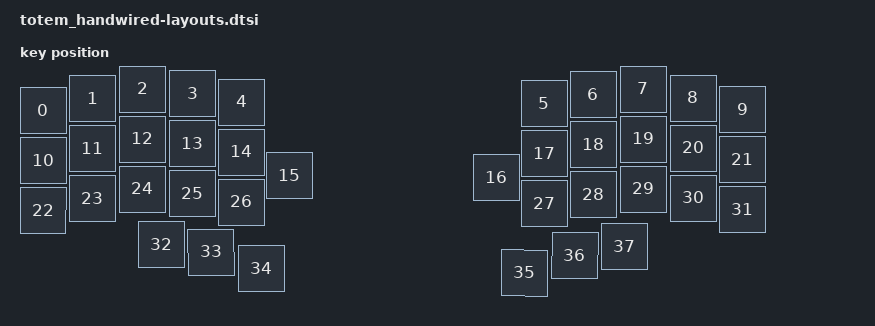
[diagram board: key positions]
#include <physical_layouts.dtsi>

/ {
    default_layout: default_layout {
        compatible = "zmk,physical-layout";
        display-name = "Default Layout";
        transform = <&default_transform>;
        kscan = <&kscan>;

        keys
            = <&key_physical_attrs 100 100 0 43 8 0 0>
            , <&key_physical_attrs 100 100 99 19 4 0 0>
            , <&key_physical_attrs 100 100 199 0 0 0 0>
            , <&key_physical_attrs 100 100 299 10 (-4) 0 0>
            , <&key_physical_attrs 100 100 397 27 (-8) 0 0>

            , <&key_physical_attrs 100 100 1002 27 8 0 0>
            , <&key_physical_attrs 100 100 1100 10 4 0 0>
            , <&key_physical_attrs 100 100 1200 0 0 0 0>
            , <&key_physical_attrs 100 100 1300 19 (-4) 0 0>
            , <&key_physical_attrs 100 100 1399 43 (-8) 0 0>

            , <&key_physical_attrs 100 100 0 143 8 0 0>
            , <&key_physical_attrs 100 100 99 119 4 0 0>
            , <&key_physical_attrs 100 100 199 100 0 0 0>
            , <&key_physical_attrs 100 100 299 110 (-4) 0 0>
            , <&key_physical_attrs 100 100 397 127 (-8) 0 0>
            , <&key_physical_attrs 100 100 492 175 (-12) 0 0>

            , <&key_physical_attrs 100 100 907 175 12 0 0>
            , <&key_physical_attrs 100 100 1002 127 8 0 0>
            , <&key_physical_attrs 100 100 1100 110 4 0 0>
            , <&key_physical_attrs 100 100 1200 100 0 0 0>
            , <&key_physical_attrs 100 100 1300 119 (-4) 0 0>
            , <&key_physical_attrs 100 100 1399 143 (-8) 0 0>

            , <&key_physical_attrs 100 100 0 243 8 0 0>
            , <&key_physical_attrs 100 100 99 219 4 0 0>
            , <&key_physical_attrs 100 100 199 200 0 0 0>
            , <&key_physical_attrs 100 100 299 210 (-4) 0 0>
            , <&key_physical_attrs 100 100 397 227 (-8) 0 0>

            , <&key_physical_attrs 100 100 1002 227 8 0 0>
            , <&key_physical_attrs 100 100 1100 210 4 0 0>
            , <&key_physical_attrs 100 100 1200 200 0 0 0>
            , <&key_physical_attrs 100 100 1300 219 (-4) 0 0>
            , <&key_physical_attrs 100 100 1399 243 (-8) 0 0>

            , <&key_physical_attrs 100 100 236 312 (-15) 0 0>
            , <&key_physical_attrs 100 100 334 328 (-25) 0 0>
            , <&key_physical_attrs 100 100 434 362 (-35) 0 0>

            , <&key_physical_attrs 100 100 965 362 35 0 0>
            , <&key_physical_attrs 100 100 1065 328 25 0 0>
            , <&key_physical_attrs 100 100 1163 312 15 0 0>
            ;
    };
};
